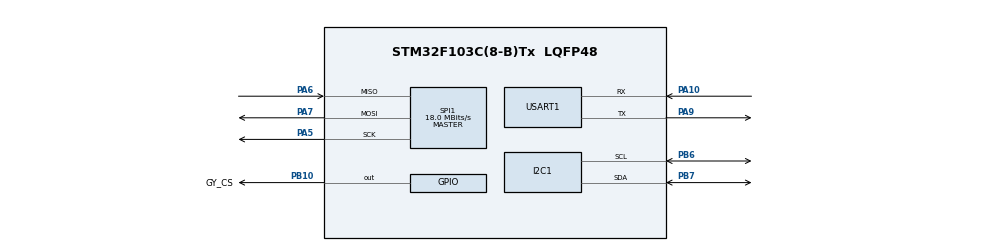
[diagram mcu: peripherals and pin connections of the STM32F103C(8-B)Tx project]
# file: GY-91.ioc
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Mcu.Family=STM32F1
Mcu.Name=STM32F103C(8-B)Tx
Mcu.Package=LQFP48
NVIC.PriorityGroup=NVIC_PRIORITYGROUP_4
PA10.Mode=Asynchronous
PA10.Signal=USART1_RX
PA13.Mode=Serial_Wire
PA13.Signal=SYS_JTMS-SWDIO
PA14.Mode=Serial_Wire
PA14.Signal=SYS_JTCK-SWCLK
PA5.Mode=Full_Duplex_Master
PA5.Signal=SPI1_SCK
PA6.Mode=Full_Duplex_Master
PA6.Signal=SPI1_MISO
PA7.Mode=Full_Duplex_Master
PA7.Signal=SPI1_MOSI
PA9.Mode=Asynchronous
PA9.Signal=USART1_TX
PB10.GPIO_Label=GY_CS
PB10.Signal=GPIO_Output
PB6.Mode=I2C
PB6.Signal=I2C1_SCL
PB7.Mode=I2C
PB7.Signal=I2C1_SDA
PC14-OSC32_IN.Mode=LSE-External-Oscillator
PC14-OSC32_IN.Signal=RCC_OSC32_IN
PC15-OSC32_OUT.Mode=LSE-External-Oscillator
PC15-OSC32_OUT.Signal=RCC_OSC32_OUT
PD0-OSC_IN.Mode=HSE-External-Oscillator
PD0-OSC_IN.Signal=RCC_OSC_IN
PD1-OSC_OUT.Mode=HSE-External-Oscillator
PD1-OSC_OUT.Signal=RCC_OSC_OUT
ProjectManager.HeapSize=0x200
ProjectManager.StackSize=0x400
ProjectManager.TargetToolchain=MDK-ARM V5.32
RCC.AHBFreq_Value=72000000
RCC.APB1CLKDivider=RCC_HCLK_DIV2
RCC.APB1Freq_Value=36000000
RCC.APB1TimFreq_Value=72000000
RCC.APB2Freq_Value=72000000
RCC.APB2TimFreq_Value=72000000
RCC.HCLKFreq_Value=72000000
RCC.PLLMUL=RCC_PLL_MUL9
RCC.PLLSourceVirtual=RCC_PLLSOURCE_HSE
RCC.SYSCLKFreq_VALUE=72000000
RCC.SYSCLKSource=RCC_SYSCLKSOURCE_PLLCLK
RCC.USBFreq_Value=72000000
SPI1.BaudRatePrescaler=SPI_BAUDRATEPRESCALER_4
SPI1.CalculateBaudRate=18.0 MBits/s
SPI1.Direction=SPI_DIRECTION_2LINES
SPI1.Mode=SPI_MODE_MASTER
SPI1.VirtualType=VM_MASTER
USART1.VirtualMode=VM_ASYNC
board=custom

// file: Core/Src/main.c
/* USER CODE BEGIN Header */
/**
 ******************************************************************************
 * @file           : main.c
 * @brief          : Main program body
 ******************************************************************************
 * @attention
 *
 * Copyright (c) 2024 STMicroelectronics.
 * All rights reserved.
 *
 * This software is licensed under terms that can be found in the LICENSE file
 * in the root directory of this software component.
 * If no LICENSE file comes with this software, it is provided AS-IS.
 *
 ******************************************************************************
 */
/* USER CODE END Header */
#include "main.h"
#include "i2c.h"
#include "spi.h"
#include "usart.h"
#include "gpio.h"

/* USER CODE BEGIN Includes */

#include "MPU9250.h"
#include "bmp280.h"

/* USER CODE END Includes */

/* USER CODE BEGIN PV */

BMP280_HandleTypedef bmp280;

float pressure, temperature, humidity;

uint16_t size;
uint8_t  Data[ 256 ];

float Acc_x, Acc_y, Acc_z;
float Mag_x, Mag_y, Mag_z;
float Gyro_x, Gyro_y, Gyro_z;

/* USER CODE END PV */

void SystemClock_Config( void );

int main( void ) {

    /* MCU Configuration--------------------------------------------------------*/

    /* Reset of all peripherals, Initializes the Flash interface and the Systick. */
    HAL_Init();

    /* Configure the system clock */
    SystemClock_Config();

    /* Initialize all configured peripherals */
    MX_GPIO_Init();
    MX_SPI1_Init();
    MX_I2C1_Init();
    MX_USART1_UART_Init();
    /* USER CODE BEGIN 2 */

    // bmp280_init_default_params( &bmp280.params );
    // bmp280.addr = BMP280_I2C_ADDRESS_0;
    // bmp280.i2c  = &hi2c1;

    //    while ( !bmp280_init( &bmp280, &bmp280.params ) ) {
    //        // size = sprintf( ( char* )Data, "BMP280 initialization failed\n" );
    //        HAL_UART_Transmit( &huart1, Data, size, 1000 );
    //        HAL_Delay( 2000 );
    //    }
    // bool bme280p = bmp280.id == BME280_CHIP_ID;

    // size = sprintf( ( char* )Data, "BMP280: found %s\n", bme280p ? "BME280" : "BMP280" );
    // HAL_UART_Transmit( &huart1, Data, size, 1000 );

    MPU9250_Init();

    /* USER CODE END 2 */

    /* Infinite loop */
    /* USER CODE BEGIN WHILE */
    while ( 1 ) {
        MPU9250_GetData( AccData, MagData, GyroData );  // INFO 获取数据

        Acc_x = ( float )AccData[ 0 ] * ( 16.0 / 32768.0 );
        Acc_y = ( float )AccData[ 1 ] * ( 16.0 / 32768.0 );
        Acc_z = ( float )AccData[ 2 ] * ( 16.0 / 32768.0 );

        Gyro_x = ( float )GyroData[ 0 ] * ( 2000.0 / 32768.0 );
        Gyro_y = ( float )GyroData[ 1 ] * ( 2000.0 / 32768.0 );
        Gyro_z = ( float )GyroData[ 2 ] * ( 2000.0 / 32768.0 );

        // // 14bit
        // Mag_x = MagData[ 0 ] * ( 10.0 * 4219.0 / 8190.0 );
        // Mag_y = MagData[ 1 ] * ( 10.0 * 4219.0 / 8190.0 );
        // Mag_z = MagData[ 2 ] * ( 10.0 * 4219.0 / 8190.0 );

        // 16bit
        Mag_x = ( float )MagData[ 0 ] * ( 10.0 * 4219.0 / 32760.0 );
        Mag_y = ( float )MagData[ 1 ] * ( 10.0 * 4219.0 / 32760.0 );
        Mag_z = ( float )MagData[ 2 ] * ( 10.0 * 4219.0 / 32760.0 );
        /* USER CODE END WHILE */

    }
}

void SystemClock_Config( void ) {
    RCC_OscInitTypeDef RCC_OscInitStruct = { 0 };
    RCC_ClkInitTypeDef RCC_ClkInitStruct = { 0 };

    /** Initializes the RCC Oscillators according to the specified parameters
     * in the RCC_OscInitTypeDef structure.
     */
    RCC_OscInitStruct.OscillatorType = RCC_OSCILLATORTYPE_HSE;
    RCC_OscInitStruct.HSEState       = RCC_HSE_ON;
    RCC_OscInitStruct.HSEPredivValue = RCC_HSE_PREDIV_DIV1;
    RCC_OscInitStruct.HSIState       = RCC_HSI_ON;
    RCC_OscInitStruct.PLL.PLLState   = RCC_PLL_ON;
    RCC_OscInitStruct.PLL.PLLSource  = RCC_PLLSOURCE_HSE;
    RCC_OscInitStruct.PLL.PLLMUL     = RCC_PLL_MUL9;
    if ( HAL_RCC_OscConfig( &RCC_OscInitStruct ) != HAL_OK ) {
        Error_Handler();
    }

    /** Initializes the CPU, AHB and APB buses clocks
     */
    RCC_ClkInitStruct.ClockType      = RCC_CLOCKTYPE_HCLK | RCC_CLOCKTYPE_SYSCLK | RCC_CLOCKTYPE_PCLK1 | RCC_CLOCKTYPE_PCLK2;
    RCC_ClkInitStruct.SYSCLKSource   = RCC_SYSCLKSOURCE_PLLCLK;
    RCC_ClkInitStruct.AHBCLKDivider  = RCC_SYSCLK_DIV1;
    RCC_ClkInitStruct.APB1CLKDivider = RCC_HCLK_DIV2;
    RCC_ClkInitStruct.APB2CLKDivider = RCC_HCLK_DIV1;

    if ( HAL_RCC_ClockConfig( &RCC_ClkInitStruct, FLASH_LATENCY_2 ) != HAL_OK ) {
        Error_Handler();
    }
}

void Error_Handler( void ) {
    __disable_irq();
    while ( 1 ) {
    }
}
